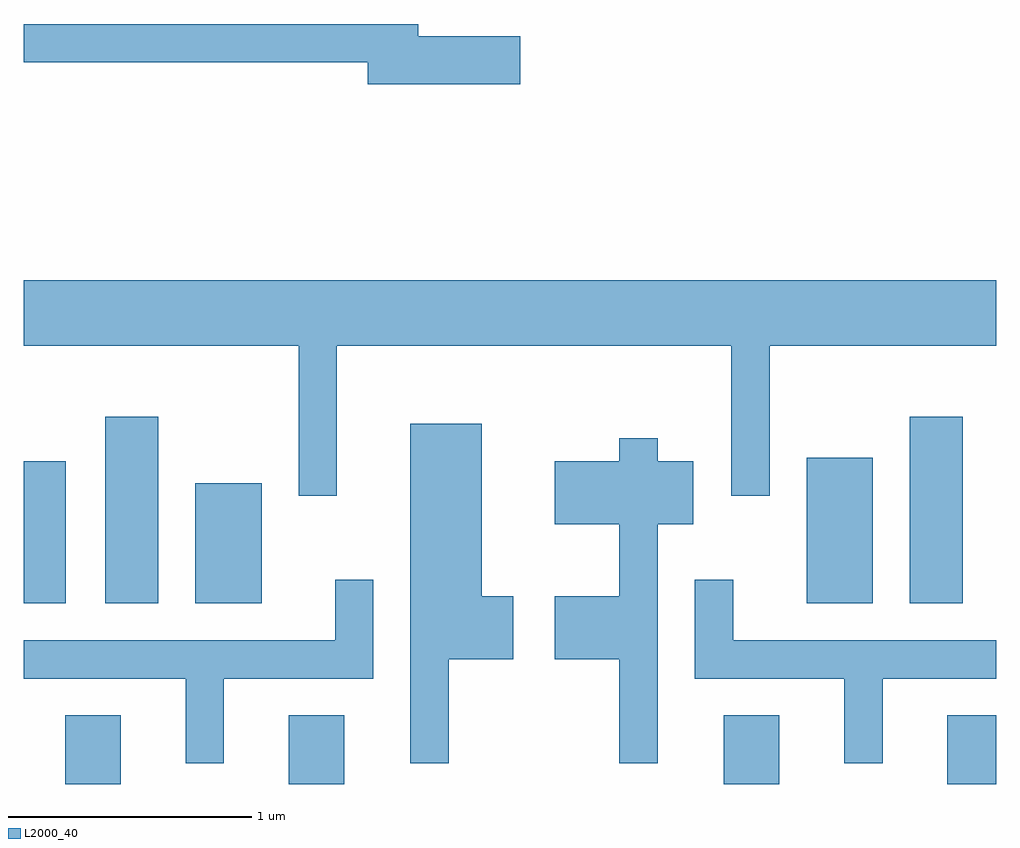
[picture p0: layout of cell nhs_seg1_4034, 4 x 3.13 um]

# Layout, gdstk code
import gdstk
lib = gdstk.Library(unit=1e-6, precision=1e-09)
def R(c, l, rs):  # rectangles x0, y0, x1, y1
    for r in rs: c.add(gdstk.rectangle(r[:2], r[2:], *l))
def P(c, l, *ps):  # polygons
    for p in ps: c.add(gdstk.Polygon(p, *l))
L2000_40 = (2000, 40)

nhs_seg1_4034 = lib.new_cell('nhs_seg1_4034')
R(nhs_seg1_4034, L2000_40, [(305.781,957.712,306.009,957.994), (306.701,957.712,306.929,957.994), (308.491,957.712,308.719,957.994), (309.411,957.712,309.611,957.994), (305.611,958.456,305.784,959.039), (305.946,958.456,306.164,959.224), (306.316,958.456,306.589,958.949), (308.831,958.456,309.104,959.054), (309.256,958.456,309.474,959.224)])
P(nhs_seg1_4034, L2000_40, [(307.654,960.789),(307.234,960.789),(307.234,960.839),(305.611,960.839),(305.611,960.681),(307.026,960.681),(307.026,960.591),(307.654,960.591)],
  [(306.899,959.516),(308.521,959.516),(308.521,958.898),(308.679,958.898),(308.679,959.516),(309.611,959.516),(309.611,959.784),(305.611,959.784),(305.611,959.516),(306.741,959.516),(306.741,958.898),(306.899,958.898)],
  [(307.359,958.226),(307.624,958.226),(307.624,958.484),(307.494,958.484),(307.494,959.194),(307.201,959.194),(307.201,957.798),(307.359,957.798)],
  [(308.219,958.781),(308.364,958.781),(308.364,959.039),(308.219,959.039),(308.219,959.134),(308.061,959.134),(308.061,959.039),(307.796,959.039),(307.796,958.781),(308.061,958.781),(308.061,958.484),(307.796,958.484),(307.796,958.226),(308.061,958.226),(308.061,957.798),(308.219,957.798)],
  [(306.434,958.146),(307.049,958.146),(307.049,958.553),(306.891,958.553),(306.891,958.304),(305.611,958.304),(305.611,958.146),(306.276,958.146),(306.276,957.798),(306.434,957.798)],
  [(309.144,958.146),(309.611,958.146),(309.611,958.304),(308.529,958.304),(308.529,958.553),(308.371,958.553),(308.371,958.146),(308.986,958.146),(308.986,957.798),(309.144,957.798)])

lib.write_gds('nhs_seg1_4034.gds')
